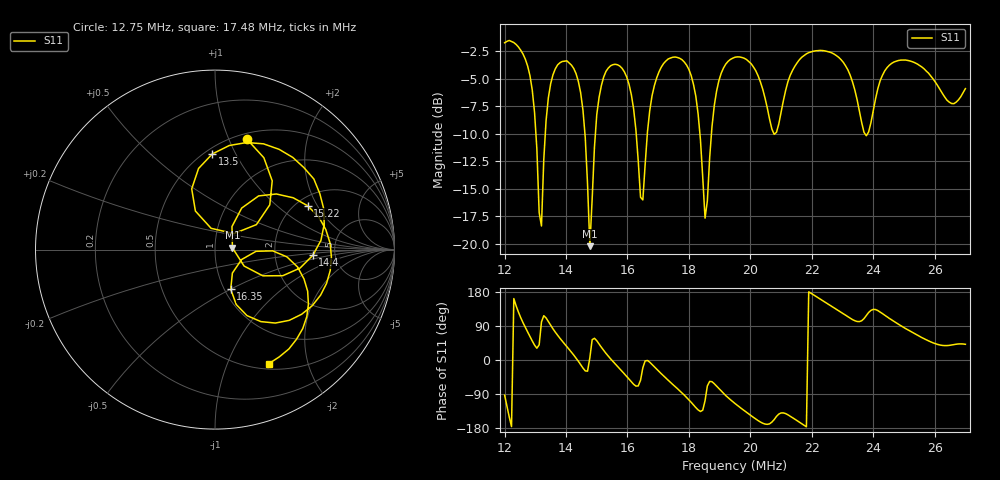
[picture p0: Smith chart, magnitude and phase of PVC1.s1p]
!Keysight Technologies N9916A: A.13.10
!Date: Sunday, 16 November 2025 17:27:54
!TimeZone: (UTC-06:00) Central Time (US & Canada)!Model: N9916A
!Serial: MY57273160
!GPS Latitude:
!GPS Longitude:
!GPS TimeStamp: 0001-01-01 00:00:00Z
!GPS Seconds Since Last Read: 0
!CHECKSUM:1760916010
!Correction: S11(Rdy)
!S1P File: Measurement: S11:
# Hz S DB R 50
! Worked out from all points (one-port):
!   201 points, 12 MHz to 27 MHz, reference 50 ohm
!   lowest |S11| = -20.2 dB at 14.78 MHz (marker M1), VSWR 1.22, Z = 60.7 + j1.22 ohm
!   |S11| at or under -10 dB: 13.02 MHz to 13.32 MHz (306.5 kHz wide, 2.33 % of centre); 14.61 MHz to 14.96 MHz (341.4 kHz wide, 2.31 % of centre); 18.36 MHz to 18.73 MHz (376.4 kHz wide, 2.03 % of centre)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
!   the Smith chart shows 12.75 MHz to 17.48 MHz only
!   S11 on the Smith chart (normalised r, x): 12.75 MHz: 0.56, +1.17; 13.5 MHz: 0.54, +0.81; 14.4 MHz: 3.38, -0.30; 15.22 MHz: 2.30, +1.66; 16.35 MHz: 1.07, -0.50; 17.48 MHz: 0.57, -1.42
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1.2e7  -1.76 -92.7
1.2225e7  -1.64 -175.8
1.245e7  -2.14 126.5
1.275e7  -3.87 73.9
1.32e7  -18.38 100.3
1.35e7  -5.46 91.6
1.3875e7  -3.45 49.9
1.44e7  -5.25 -3.3
1.4775e7  -20.21 5.8
1.5225e7  -4.86 25.3
1.575e7  -3.87 -23.3
1.635e7  -12.47 -68.4
1.65e7  -16.01 -20.5
1.665e7  -9.86 -1.3
1.7475e7  -3.07 -64.6
1.7625e7  -3.09 -75.5
1.8225e7  -6.62 -125.6
1.8525e7  -17.66 -107.3
1.89e7  -6.15 -68.9
1.95e7  -3.07 -114.8
2.055e7  -7.65 -169.8
2.1375e7  -4.25 -152.4
2.2275e7  -2.45 160.8
2.325e7  -4.70 110.2
2.385e7  -9.85 125.4
2.43e7  -4.71 122.4
2.5125e7  -3.36 79.7
2.7e7  -5.92 41.5
